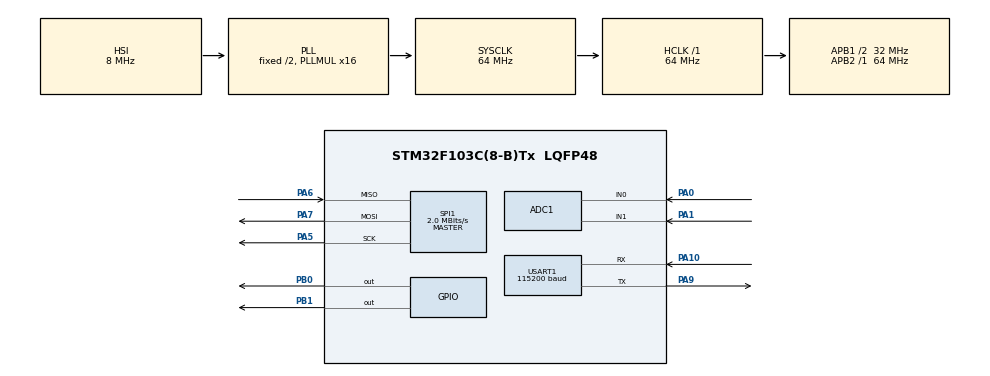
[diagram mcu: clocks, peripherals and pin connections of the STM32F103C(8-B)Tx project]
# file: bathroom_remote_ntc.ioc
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ADC1.Channel-0\#ChannelRegularConversion=ADC_CHANNEL_0
ADC1.ContinuousConvMode=DISABLE
ADC1.NbrOfConversion=1
ADC1.NbrOfConversionFlag=1
ADC1.Rank-0\#ChannelRegularConversion=1
ADC1.SamplingTime-0\#ChannelRegularConversion=ADC_SAMPLETIME_239CYCLES_5
ADC1.master=1
Mcu.Family=STM32F1
Mcu.Name=STM32F103C(8-B)Tx
Mcu.Package=LQFP48
NVIC.PriorityGroup=NVIC_PRIORITYGROUP_4
PA0-WKUP.Signal=ADCx_IN0
PA1.Signal=ADCx_IN1
PA10.Mode=Asynchronous
PA10.Signal=USART1_RX
PA13.Mode=Serial_Wire
PA13.Signal=SYS_JTMS-SWDIO
PA14.Mode=Serial_Wire
PA14.Signal=SYS_JTCK-SWCLK
PA5.Mode=Full_Duplex_Master
PA5.Signal=SPI1_SCK
PA6.Mode=Full_Duplex_Master
PA6.Signal=SPI1_MISO
PA7.Mode=Full_Duplex_Master
PA7.Signal=SPI1_MOSI
PA9.Mode=Asynchronous
PA9.Signal=USART1_TX
PB0.Signal=GPIO_Output
PB1.PinState=GPIO_PIN_SET
PB1.Signal=GPIO_Output
PD0-OSC_IN.Mode=HSE-External-Oscillator
PD0-OSC_IN.Signal=RCC_OSC_IN
PD1-OSC_OUT.Mode=HSE-External-Oscillator
PD1-OSC_OUT.Signal=RCC_OSC_OUT
ProjectManager.HeapSize=0x200
ProjectManager.StackSize=0x400
ProjectManager.TargetToolchain=STM32CubeIDE
RCC.ADCPresc=RCC_ADCPCLK2_DIV6
RCC.AHBFreq_Value=64000000
RCC.APB1CLKDivider=RCC_HCLK_DIV2
RCC.APB1Freq_Value=32000000
RCC.APB1TimFreq_Value=64000000
RCC.APB2Freq_Value=64000000
RCC.APB2TimFreq_Value=64000000
RCC.HCLKFreq_Value=64000000
RCC.PLLMUL=RCC_PLL_MUL16
RCC.SYSCLKFreq_VALUE=64000000
RCC.SYSCLKSource=RCC_SYSCLKSOURCE_PLLCLK
RCC.USBFreq_Value=64000000
SH.ADCx_IN0.0=ADC1_IN0,IN0
SH.ADCx_IN1.0=ADC1_IN1,IN1
SPI1.BaudRatePrescaler=SPI_BAUDRATEPRESCALER_32
SPI1.CalculateBaudRate=2.0 MBits/s
SPI1.Direction=SPI_DIRECTION_2LINES
SPI1.Mode=SPI_MODE_MASTER
SPI1.VirtualType=VM_MASTER
USART1.BaudRate=115200
USART1.VirtualMode=VM_ASYNC
board=custom

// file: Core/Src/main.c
/* USER CODE BEGIN Header */
/**
  ******************************************************************************
  * @file           : main.c
  * @brief          : Main program body
  ******************************************************************************
  * @attention
  *
  * Copyright (c) 2026 STMicroelectronics.
  * All rights reserved.
  *
  * This software is licensed under terms that can be found in the LICENSE file
  * in the root directory of this software component.
  * If no LICENSE file comes with this software, it is provided AS-IS.
  *
  ******************************************************************************
  */
/* USER CODE END Header */
#include "main.h"

/* USER CODE BEGIN Includes */
#include <math.h>
#include <stdio.h>
#include <string.h>
#include <stdarg.h>
#include <stdbool.h>

/* USER CODE END Includes */

/* USER CODE BEGIN PD */
// --- NTC parameters ---
#define ADC_MAX_COUNTS   4095.0f     // 12-bit ADC
#define VREF_VOLTS       3.3f        // assuming VDDA ~ 3.3V
#define RFIX_OHMS        10000.0f     // 10k fixed resistor to 3.3V
#define R0_OHMS          10000.0f     // NTC nominal at 25C
#define T0_KELVIN        298.15f      // 25C in Kelvin
#define BETA_K           3950.0f

// --- One-point calibration offsets (milli-°C) ---
// Reference: 37.100 °C
// Measured averages: CH0=36.64 °C, CH1=36.89 °C
#define CAL_OFFS_CH0_mC  (460)   // +0.46 °C
#define CAL_OFFS_CH1_mC  (210)   // +0.21 °C

#define TEMP_ADC_SETTLE_MS 3000u

// Pins
#define NRF_CE_PORT   GPIOB
#define NRF_CE_PIN    GPIO_PIN_0
#define NRF_CSN_PORT  GPIOB
#define NRF_CSN_PIN   GPIO_PIN_1

static inline void nrf_ce(int on)
{
  HAL_GPIO_WritePin(NRF_CE_PORT, NRF_CE_PIN, on ? GPIO_PIN_SET : GPIO_PIN_RESET);
}

static inline void nrf_csn(int on)
{
  HAL_GPIO_WritePin(NRF_CSN_PORT, NRF_CSN_PIN, on ? GPIO_PIN_SET : GPIO_PIN_RESET);
}

// Commands + regs
#define NRF_CMD_R_REGISTER     0x00
#define NRF_CMD_W_REGISTER     0x20
#define NRF_CMD_R_RX_PAYLOAD   0x61
#define NRF_CMD_W_TX_PAYLOAD   0xA0
#define NRF_CMD_FLUSH_TX       0xE1
#define NRF_CMD_FLUSH_RX       0xE2
#define NRF_CMD_NOP            0xFF

#define NRF_REG_CONFIG         0x00
#define NRF_REG_EN_AA          0x01
#define NRF_REG_EN_RXADDR      0x02
#define NRF_REG_SETUP_RETR     0x04
#define NRF_REG_RF_CH          0x05
#define NRF_REG_RF_SETUP       0x06
#define NRF_REG_STATUS         0x07
#define NRF_REG_OBSERVE_TX     0x08
#define NRF_REG_RPD            0x09
#define NRF_REG_RX_ADDR_P0     0x0A
#define NRF_REG_TX_ADDR        0x10
#define NRF_REG_RX_PW_P0       0x11
#define NRF_REG_FIFO_STATUS    0x17

// Command tokens and reply tokens
#define CMD_PING  0x474E4950u  // 'PING' little-endian if you want 32-bit compare
#define CMD_GTMP  0x504D5447u  // 'GTMP'

/* USER CODE END PD */

ADC_HandleTypeDef hadc1;

SPI_HandleTypeDef hspi1;

UART_HandleTypeDef huart1;

void SystemClock_Config(void);
static void MX_GPIO_Init(void);
static void MX_ADC1_Init(void);
static void MX_USART1_UART_Init(void);
static void MX_SPI1_Init(void);

/* USER CODE BEGIN 0 */

static uint32_t g_temps_valid_after_ms = 0;

static void uart_printf(const char *fmt, ...)
{
  char buf[128];
  va_list ap;
  va_start(ap, fmt);
  int n = vsnprintf(buf, sizeof(buf), fmt, ap);
  va_end(ap);

  if (n < 0) return;
  if (n > (int)sizeof(buf)) n = sizeof(buf);

  HAL_UART_Transmit(&huart1, (uint8_t*)buf, (uint16_t)strlen(buf), HAL_MAX_DELAY);
}

#define NTC_ADC_CLAMP_LOW_MAX    10u
#define NTC_ADC_CLAMP_HIGH_MIN   (ADC_MAX_COUNTS - 10u)

#define NTC_TEMP_MIN_mC   (-55000)
#define NTC_TEMP_MAX_mC   (125000)

static bool ntc_adc_to_mC(uint16_t adc_counts, int32_t *out_mC)
{
  if (out_mC == NULL) {
    return false;
  }

  if (adc_counts <= NTC_ADC_CLAMP_LOW_MAX) {
    return false;
  }

  if (adc_counts >= NTC_ADC_CLAMP_HIGH_MIN) {
    return false;
  }

  const float v = ((float)adc_counts / ADC_MAX_COUNTS) * VREF_VOLTS;

  const float r_ntc = RFIX_OHMS * v / (VREF_VOLTS - v);

  const float invT =
      (1.0f / T0_KELVIN) +
      (1.0f / BETA_K) * logf(r_ntc / R0_OHMS);

  const float tempK = 1.0f / invT;
  const float tempC = tempK - 273.15f;
  const int32_t temp_mC = (int32_t)lroundf(tempC * 1000.0f);

  if (temp_mC < NTC_TEMP_MIN_mC || temp_mC > NTC_TEMP_MAX_mC) {
    return false;
  }

  *out_mC = temp_mC;
  return true;
}

static int adc_read_one(ADC_HandleTypeDef *hadc, uint32_t channel, uint16_t *out)
{
  ADC_ChannelConfTypeDef sConfig = {0};

  sConfig.Channel = channel;
  sConfig.Rank = ADC_REGULAR_RANK_1;
  sConfig.SamplingTime = ADC_SAMPLETIME_239CYCLES_5;

  if (HAL_ADC_ConfigChannel(hadc, &sConfig) != HAL_OK) return -1;
  if (HAL_ADC_Start(hadc) != HAL_OK) return -2;
  if (HAL_ADC_PollForConversion(hadc, 50) != HAL_OK) return -3;

  *out = (uint16_t)HAL_ADC_GetValue(hadc);

  (void)HAL_ADC_Stop(hadc);
  return 0;
}

static int adc_read_two(uint16_t *out0, uint16_t *out1)
{
  int rc;

  rc = adc_read_one(&hadc1, ADC_CHANNEL_0, out0); // PA0
  if (rc) return rc;

  rc = adc_read_one(&hadc1, ADC_CHANNEL_1, out1); // PA1
  if (rc) return rc;

  return 0;
}

typedef struct {
  int32_t t0_mC;
  int32_t t1_mC;
  uint16_t flags;        // bit0=t0 valid, bit1=t1 valid, bit2=adc ok
  uint32_t sample_ms;    // HAL_GetTick() when sampled
  uint16_t a0;
  uint16_t a1;
} temps_cache_t;

static temps_cache_t g_tcache;

#define TEMP_FLAG_T0_VALID  (1u << 0)
#define TEMP_FLAG_T1_VALID  (1u << 1)
#define TEMP_FLAG_ADC_OK    (1u << 2)

static void temps_update_1hz(void)
{
  const uint32_t now = HAL_GetTick();
  if ((int32_t)(now - g_temps_valid_after_ms) < 0) {
    g_tcache.sample_ms = now;
    g_tcache.flags = 0;
    return;
  }

  uint16_t a0 = 0, a1 = 0;
  int rc = adc_read_two(&a0, &a1);

  g_tcache.a0 = a0;
  g_tcache.a1 = a1;
  g_tcache.flags = 0;
  g_tcache.t0_mC = 0;
  g_tcache.t1_mC = 0;
  g_tcache.sample_ms = now;

  if (rc != 0) {
    uart_printf("ADC read error rc=%d\r\n", rc);
    return;
  }

  g_tcache.flags |= TEMP_FLAG_ADC_OK;

  int32_t t0_mC = 0;
  int32_t t1_mC = 0;

  if (ntc_adc_to_mC(a0, &t0_mC)) {
    t0_mC += CAL_OFFS_CH0_mC;
    g_tcache.t0_mC = t0_mC;
    g_tcache.flags |= TEMP_FLAG_T0_VALID;
  }

  if (ntc_adc_to_mC(a1, &t1_mC)) {
    t1_mC += CAL_OFFS_CH1_mC;
    g_tcache.t1_mC = t1_mC;
    g_tcache.flags |= TEMP_FLAG_T1_VALID;
  }

  uart_printf("ADC0=%u ADC1=%u  T0=%ld mC  T1=%ld mC\r\n",
              (unsigned)a0, (unsigned)a1,
              (long)g_tcache.t0_mC, (long)g_tcache.t1_mC);
}

// SPI xfer
static uint8_t nrf_spi_xfer(uint8_t b)
{
  uint8_t rx = 0;
  HAL_SPI_TransmitReceive(&hspi1, &b, &rx, 1, HAL_MAX_DELAY);
  return rx;
}

// Register IO
static uint8_t nrf_get_status_cmd(void)
{
  uint8_t st;
  nrf_csn(0);
  st = nrf_spi_xfer(NRF_CMD_NOP);
  nrf_csn(1);
  return st;
}

static uint8_t nrf_read_reg(uint8_t reg)
{
  uint8_t v;
  nrf_csn(0);
  nrf_spi_xfer(NRF_CMD_R_REGISTER | (reg & 0x1F));
  v = nrf_spi_xfer(NRF_CMD_NOP);
  nrf_csn(1);
  return v;
}

static void nrf_write_reg(uint8_t reg, uint8_t v)
{
  nrf_csn(0);
  nrf_spi_xfer(NRF_CMD_W_REGISTER | (reg & 0x1F));
  nrf_spi_xfer(v);
  nrf_csn(1);
}

static void nrf_write_reg_buf(uint8_t reg, const uint8_t *buf, uint8_t len)
{
  nrf_csn(0);
  nrf_spi_xfer(NRF_CMD_W_REGISTER | (reg & 0x1F));
  for (uint8_t i = 0; i < len; i++) nrf_spi_xfer(buf[i]);
  nrf_csn(1);
}

// FIFO flush + IRQ clear
static void nrf_flush_rx(void)
{
  nrf_csn(0); nrf_spi_xfer(NRF_CMD_FLUSH_RX); nrf_csn(1);
}

static void nrf_flush_tx(void)
{
  nrf_csn(0); nrf_spi_xfer(NRF_CMD_FLUSH_TX); nrf_csn(1);
}

static void nrf_clear_irqs(void)
{
  // Clear RX_DR(6), TX_DS(5), MAX_RT(4)
  nrf_write_reg(NRF_REG_STATUS, 0x70);
}

// Payload IO
static int nrf_rx_available(void)
{
  uint8_t fifo = nrf_read_reg(NRF_REG_FIFO_STATUS);
  return ((fifo & 0x01u) == 0u); // RX_EMPTY bit0 == 0 => data available
}

static void nrf_read_payload32(uint8_t *p32)
{
  nrf_csn(0);
  nrf_spi_xfer(NRF_CMD_R_RX_PAYLOAD);
  for (int i = 0; i < 32; i++) p32[i] = nrf_spi_xfer(NRF_CMD_NOP);
  nrf_csn(1);
}

static void nrf_write_payload32(const uint8_t *p32)
{
  nrf_csn(0);
  nrf_spi_xfer(NRF_CMD_W_TX_PAYLOAD);
  for (int i = 0; i < 32; i++) nrf_spi_xfer(p32[i]);
  nrf_csn(1);
}

// Mode switching
static void nrf_set_rx_mode(void)
{
  nrf_ce(0);
  nrf_write_reg(NRF_REG_CONFIG, 0x0F); // PWR_UP=1, PRIM_RX=1, CRC enabled
  HAL_Delay(2);
  nrf_ce(1);
}

static void nrf_set_tx_mode(void)
{
  nrf_ce(0);
  nrf_write_reg(NRF_REG_CONFIG, 0x0E); // PWR_UP=1, PRIM_RX=0, CRC enabled
  HAL_Delay(2);
}

// Common link init (call on both nodes)
static void nrf_init_link_common(void)
{
  static const uint8_t addr[5] = {0xE7,0xE7,0xE7,0xE7,0xE7};

  // Electrical idle + settle
  nrf_ce(0);
  nrf_csn(1);
  HAL_Delay(10);

  // Your “sync kick” (good!)
  nrf_flush_rx();
  nrf_flush_tx();
  nrf_clear_irqs();

  // Channel
  nrf_write_reg(NRF_REG_RF_CH, 76);

  // Auto-ack on pipe0
  nrf_write_reg(NRF_REG_EN_AA, 0x01);
  // Enable pipe0
  nrf_write_reg(NRF_REG_EN_RXADDR, 0x01);

  // Retries: ARD=4 (1500us), ARC=15
  nrf_write_reg(NRF_REG_SETUP_RETR, 0x4F);

  // RF_SETUP: 250kbps, -6dBm
  nrf_write_reg(NRF_REG_RF_SETUP, 0x24);

  // Addresses for pipe0 and TX (must match for auto-ack)
  nrf_write_reg_buf(NRF_REG_RX_ADDR_P0, addr, 5);
  nrf_write_reg_buf(NRF_REG_TX_ADDR, addr, 5);

  // Fixed payload size
  nrf_write_reg(NRF_REG_RX_PW_P0, 32);

  nrf_flush_rx();
  nrf_flush_tx();
  nrf_clear_irqs();

  // Start in RX mode
  nrf_set_rx_mode();
}

static int nrf_send_reply32(const uint8_t tx[32], uint32_t tmo_ms)
{
  nrf_set_tx_mode();
  nrf_clear_irqs();
  nrf_flush_tx();
  nrf_write_payload32(tx);

  nrf_ce(1);
  HAL_Delay(1);
  nrf_ce(0);

  const uint32_t start = HAL_GetTick();
  while ((HAL_GetTick() - start) < tmo_ms) {
    const uint8_t st = nrf_get_status_cmd();

    if (st & (1u<<5)) { // TX_DS
      nrf_clear_irqs();
      nrf_set_rx_mode();
      return 0;
    }
    if (st & (1u<<4)) { // MAX_RT
      nrf_clear_irqs();
      nrf_flush_tx();
      nrf_set_rx_mode();
      return -1;
    }
  }

  // timeout waiting for TX_DS/MAX_RT (should be rare)
  nrf_set_rx_mode();
  return -2;
}

// Verify payload command by comparing bytes
static int cmd_is(const uint8_t rx[32], const char *s4)
{
  return (rx[0]==(uint8_t)s4[0] &&
          rx[1]==(uint8_t)s4[1] &&
          rx[2]==(uint8_t)s4[2] &&
          rx[3]==(uint8_t)s4[3]);
}

static void put_le16(uint8_t *dst, uint16_t v) { memcpy(dst, &v, sizeof(v)); }
static void put_le32(uint8_t *dst, uint32_t v) { memcpy(dst, &v, sizeof(v)); }

static void handle_cmd_gtmp(void)
{
  uint8_t tx[32] = {0};

  tx[0]='T'; tx[1]='M'; tx[2]='P'; tx[3]='!';

  const uint32_t now = HAL_GetTick();
  uint32_t age = now - g_tcache.sample_ms;
  if (age > 65535u) age = 65535u;

  // pack fields (little-endian)
  put_le32(&tx[4],  (uint32_t)g_tcache.t0_mC);
  put_le32(&tx[8],  (uint32_t)g_tcache.t1_mC);
  put_le16(&tx[12], (uint16_t)g_tcache.flags);
  put_le16(&tx[14], (uint16_t)age);
  put_le16(&tx[16], (uint16_t)g_tcache.a0);
  put_le16(&tx[18], (uint16_t)g_tcache.a1);

  (void)nrf_send_reply32(tx, 50);
}

static void remote_loop_rx_dispatch(void)
{

  while (nrf_rx_available()) {
	uint8_t rx[32];
	nrf_read_payload32(rx);
	nrf_clear_irqs();

	if (rx[0]=='P' && rx[1]=='I' && rx[2]=='N' && rx[3]=='G') {
		uint8_t tx[32] = {0};
		tx[0]='P'; tx[1]='O'; tx[2]='N'; tx[3]='G';
		(void)nrf_send_reply32(tx, 50);
	} else if (rx[0]=='G' && rx[1]=='T' && rx[2]=='M' && rx[3]=='P') {
	    handle_cmd_gtmp();
	} else {
	  // Unknown command: optional NACK
	  // uint8_t tx[32] = {0}; tx[0]='E';tx[1]='R';tx[2]='R';tx[3]='!';
	  // (void)nrf_send_reply32(tx, 50);
	}
  }

}

static void nrf_print_rf_setup(void)
{
  uint8_t rf = nrf_read_reg(NRF_REG_RF_SETUP);

  const char *rate = "1Mbps";
  if (rf & (1u << 5)) rate = "250kbps";
  else if (rf & (1u << 3)) rate = "2Mbps";

  uint8_t pwr = (rf >> 1) & 0x03;
  const char *pwr_s = "?";
  switch (pwr) {
    case 0: pwr_s = "-18dBm"; break;
    case 1: pwr_s = "-12dBm"; break;
    case 2: pwr_s = "-6dBm";  break;
    case 3: pwr_s = "0dBm";   break;
  }

  uint8_t retr = nrf_read_reg(NRF_REG_SETUP_RETR);
  uint8_t ard = (retr >> 4) & 0x0F;
  uint8_t arc = retr & 0x0F;

  uart_printf(
    "NRF: ch=%u rate=%s txpwr=%s retr=%uus x%u\r\n",
    nrf_read_reg(NRF_REG_RF_CH),
    rate,
    pwr_s,
    (ard + 1) * 250,
    arc
  );
}

/* USER CODE END 0 */

int main(void)
{

  /* MCU Configuration--------------------------------------------------------*/

  /* Reset of all peripherals, Initializes the Flash interface and the Systick. */
  HAL_Init();

  /* Configure the system clock */
  SystemClock_Config();

  /* Initialize all configured peripherals */
  MX_GPIO_Init();
  MX_ADC1_Init();
  MX_USART1_UART_Init();
  MX_SPI1_Init();
  /* USER CODE BEGIN 2 */
  // ADC calibration (STM32F1)
  (void)HAL_ADCEx_Calibration_Start(&hadc1);

  nrf_init_link_common();
  nrf_print_rf_setup();
  uart_printf("Remote NRF STATUS=0x%02X\r\n", nrf_get_status_cmd());

  g_temps_valid_after_ms = HAL_GetTick() + TEMP_ADC_SETTLE_MS;

  /* USER CODE END 2 */

  /* Infinite loop */
  /* USER CODE BEGIN WHILE */
  while (1)
  {
	  static uint32_t next_sample_ms = 0;
	  const uint32_t now = HAL_GetTick();

	  remote_loop_rx_dispatch();   // keep RF responsive

	  if ((int32_t)(now - next_sample_ms) >= 0) {
	    next_sample_ms = now + 1000u;
	    temps_update_1hz();
	  }

    /* USER CODE END WHILE */

  }
}

void SystemClock_Config(void)
{
  RCC_OscInitTypeDef RCC_OscInitStruct = {0};
  RCC_ClkInitTypeDef RCC_ClkInitStruct = {0};
  RCC_PeriphCLKInitTypeDef PeriphClkInit = {0};

  /** Initializes the RCC Oscillators according to the specified parameters
  * in the RCC_OscInitTypeDef structure.
  */
  RCC_OscInitStruct.OscillatorType = RCC_OSCILLATORTYPE_HSI;
  RCC_OscInitStruct.HSIState = RCC_HSI_ON;
  RCC_OscInitStruct.HSICalibrationValue = RCC_HSICALIBRATION_DEFAULT;
  RCC_OscInitStruct.PLL.PLLState = RCC_PLL_ON;
  RCC_OscInitStruct.PLL.PLLSource = RCC_PLLSOURCE_HSI_DIV2;
  RCC_OscInitStruct.PLL.PLLMUL = RCC_PLL_MUL16;
  if (HAL_RCC_OscConfig(&RCC_OscInitStruct) != HAL_OK)
  {
    Error_Handler();
  }

  /** Initializes the CPU, AHB and APB buses clocks
  */
  RCC_ClkInitStruct.ClockType = RCC_CLOCKTYPE_HCLK|RCC_CLOCKTYPE_SYSCLK
                              |RCC_CLOCKTYPE_PCLK1|RCC_CLOCKTYPE_PCLK2;
  RCC_ClkInitStruct.SYSCLKSource = RCC_SYSCLKSOURCE_PLLCLK;
  RCC_ClkInitStruct.AHBCLKDivider = RCC_SYSCLK_DIV1;
  RCC_ClkInitStruct.APB1CLKDivider = RCC_HCLK_DIV2;
  RCC_ClkInitStruct.APB2CLKDivider = RCC_HCLK_DIV1;

  if (HAL_RCC_ClockConfig(&RCC_ClkInitStruct, FLASH_LATENCY_2) != HAL_OK)
  {
    Error_Handler();
  }
  PeriphClkInit.PeriphClockSelection = RCC_PERIPHCLK_ADC;
  PeriphClkInit.AdcClockSelection = RCC_ADCPCLK2_DIV6;
  if (HAL_RCCEx_PeriphCLKConfig(&PeriphClkInit) != HAL_OK)
  {
    Error_Handler();
  }
}

static void MX_ADC1_Init(void)
{

  ADC_ChannelConfTypeDef sConfig = {0};

  /** Common config
  */
  hadc1.Instance = ADC1;
  hadc1.Init.ScanConvMode = ADC_SCAN_DISABLE;
  hadc1.Init.ContinuousConvMode = DISABLE;
  hadc1.Init.DiscontinuousConvMode = DISABLE;
  hadc1.Init.ExternalTrigConv = ADC_SOFTWARE_START;
  hadc1.Init.DataAlign = ADC_DATAALIGN_RIGHT;
  hadc1.Init.NbrOfConversion = 1;
  if (HAL_ADC_Init(&hadc1) != HAL_OK)
  {
    Error_Handler();
  }

  /** Configure Regular Channel
  */
  sConfig.Channel = ADC_CHANNEL_0;
  sConfig.Rank = ADC_REGULAR_RANK_1;
  sConfig.SamplingTime = ADC_SAMPLETIME_239CYCLES_5;
  if (HAL_ADC_ConfigChannel(&hadc1, &sConfig) != HAL_OK)
  {
    Error_Handler();
  }

}

static void MX_SPI1_Init(void)
{

  /* SPI1 parameter configuration*/
  hspi1.Instance = SPI1;
  hspi1.Init.Mode = SPI_MODE_MASTER;
  hspi1.Init.Direction = SPI_DIRECTION_2LINES;
  hspi1.Init.DataSize = SPI_DATASIZE_8BIT;
  hspi1.Init.CLKPolarity = SPI_POLARITY_LOW;
  hspi1.Init.CLKPhase = SPI_PHASE_1EDGE;
  hspi1.Init.NSS = SPI_NSS_SOFT;
  hspi1.Init.BaudRatePrescaler = SPI_BAUDRATEPRESCALER_32;
  hspi1.Init.FirstBit = SPI_FIRSTBIT_MSB;
  hspi1.Init.TIMode = SPI_TIMODE_DISABLE;
  hspi1.Init.CRCCalculation = SPI_CRCCALCULATION_DISABLE;
  hspi1.Init.CRCPolynomial = 10;
  if (HAL_SPI_Init(&hspi1) != HAL_OK)
  {
    Error_Handler();
  }

}

static void MX_USART1_UART_Init(void)
{

  huart1.Instance = USART1;
  huart1.Init.BaudRate = 115200;
  huart1.Init.WordLength = UART_WORDLENGTH_8B;
  huart1.Init.StopBits = UART_STOPBITS_1;
  huart1.Init.Parity = UART_PARITY_NONE;
  huart1.Init.Mode = UART_MODE_TX_RX;
  huart1.Init.HwFlowCtl = UART_HWCONTROL_NONE;
  huart1.Init.OverSampling = UART_OVERSAMPLING_16;
  if (HAL_UART_Init(&huart1) != HAL_OK)
  {
    Error_Handler();
  }

}

static void MX_GPIO_Init(void)
{
  GPIO_InitTypeDef GPIO_InitStruct = {0};

  /* GPIO Ports Clock Enable */
  __HAL_RCC_GPIOD_CLK_ENABLE();
  __HAL_RCC_GPIOA_CLK_ENABLE();
  __HAL_RCC_GPIOB_CLK_ENABLE();

  /*Configure GPIO pin Output Level */
  HAL_GPIO_WritePin(GPIOB, GPIO_PIN_0, GPIO_PIN_RESET);

  /*Configure GPIO pin Output Level */
  HAL_GPIO_WritePin(GPIOB, GPIO_PIN_1, GPIO_PIN_SET);

  /*Configure GPIO pins : PB0 PB1 */
  GPIO_InitStruct.Pin = GPIO_PIN_0|GPIO_PIN_1;
  GPIO_InitStruct.Mode = GPIO_MODE_OUTPUT_PP;
  GPIO_InitStruct.Pull = GPIO_NOPULL;
  GPIO_InitStruct.Speed = GPIO_SPEED_FREQ_LOW;
  HAL_GPIO_Init(GPIOB, &GPIO_InitStruct);

}

void Error_Handler(void)
{
  __disable_irq();
  while (1)
  {
  }
}
